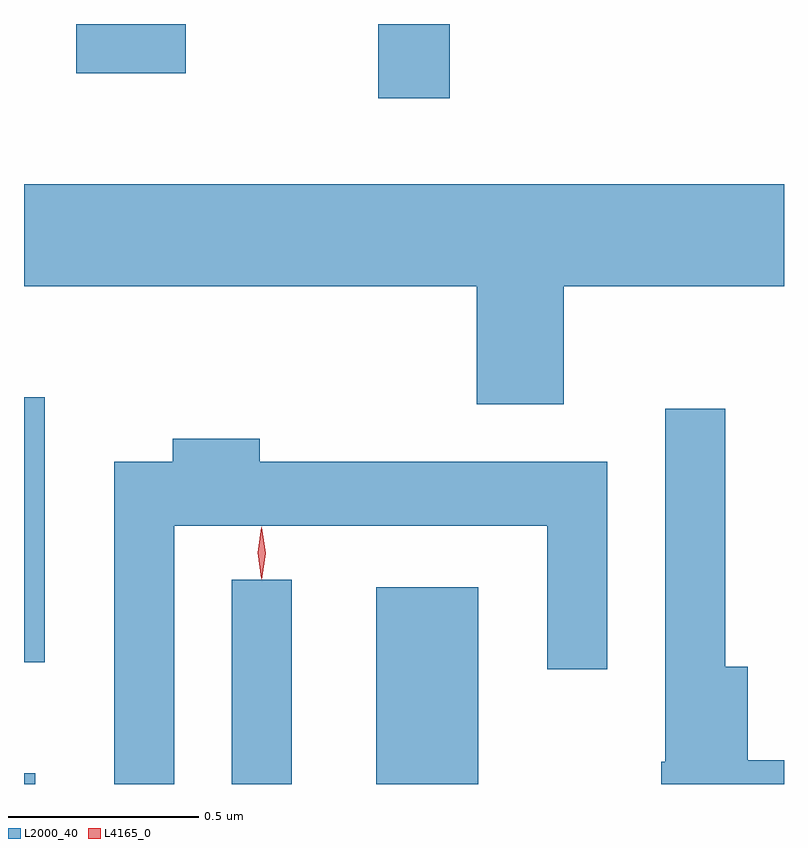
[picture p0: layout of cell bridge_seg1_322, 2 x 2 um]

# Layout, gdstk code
import gdstk
lib = gdstk.Library(unit=1e-6, precision=1e-09)
def R(c, l, rs):  # rectangles x0, y0, x1, y1
    for r in rs: c.add(gdstk.rectangle(r[:2], r[2:], *l))
def P(c, l, *ps):  # polygons
    for p in ps: c.add(gdstk.Polygon(p, *l))
L2000_40 = (2000, 40)
L4165_0 = (4165, 0)

bridge_seg1_322 = lib.new_cell('bridge_seg1_322')
R(bridge_seg1_322, L2000_40, [(877.369,889.386,877.399,889.414), (877.916,889.386,878.074,889.923), (878.296,889.386,878.564,889.904), (877.369,889.706,877.424,890.404), (878.301,891.191,878.489,891.386), (877.506,891.256,877.794,891.386)])
P(bridge_seg1_322, L2000_40, [(878.789,890.696),(879.369,890.696),(879.369,890.964),(877.369,890.964),(877.369,890.696),(878.561,890.696),(878.561,890.386),(878.789,890.386)],
  [(879.369,889.449),(879.274,889.449),(879.274,889.694),(879.214,889.694),(879.214,890.373),(879.056,890.373),(879.056,889.445),(879.046,889.445),(879.046,889.386),(879.369,889.386)],
  [(877.764,890.066),(878.746,890.066),(878.746,889.688),(878.904,889.688),(878.904,890.234),(877.989,890.234),(877.989,890.294),(877.761,890.294),(877.761,890.234),(877.606,890.234),(877.606,889.386),(877.764,889.386)])
P(bridge_seg1_322, L4165_0, [(877.994,889.924),(877.985,889.993),(877.994,890.062),(877.995,890.063),(877.995,890.062),(878.005,889.993),(877.995,889.924),(877.995,889.924)],
  [(877.993,889.927),(877.984,889.994),(877.993,890.06),(877.994,890.061),(877.994,890.06),(878.004,889.994),(877.994,889.927),(877.994,889.927)])

lib.write_gds('bridge_seg1_322.gds')
